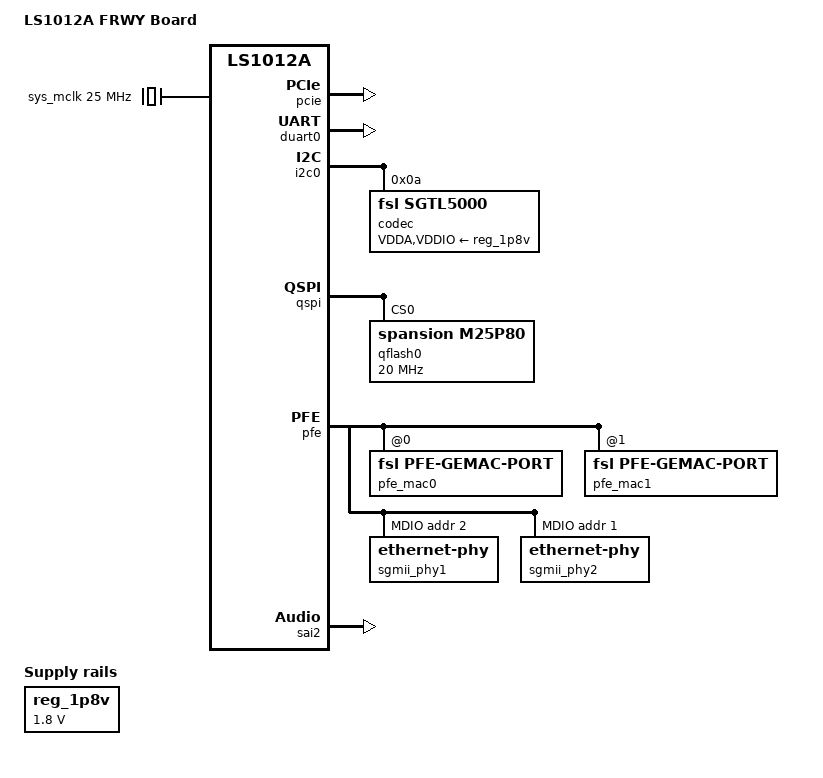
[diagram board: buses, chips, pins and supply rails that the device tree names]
/*
 * Device Tree file for NXP LS1012A FRWY Board.
 *
 * Copyright 2018 NXP
 *
 * This file is dual-licensed: you can use it either under the terms
 * of the GPLv2 or the X11 license, at your option. Note that this dual
 * licensing only applies to this file, and not this project as a
 * whole.
 *
 *  a) This library is free software; you can redistribute it and/or
 *     modify it under the terms of the GNU General Public License as
 *     published by the Free Software Foundation; either version 2 of the
 *     License, or (at your option) any later version.
 *
 *     This library is distributed in the hope that it will be useful,
 *     but WITHOUT ANY WARRANTY; without even the implied warranty of
 *     MERCHANTABILITY or FITNESS FOR A PARTICULAR PURPOSE.  See the
 *     GNU General Public License for more details.
 *
 * Or, alternatively,
 *
 *  b) Permission is hereby granted, free of charge, to any person
 *     obtaining a copy of this software and associated documentation
 *     files (the "Software"), to deal in the Software without
 *     restriction, including without limitation the rights to use,
 *     copy, modify, merge, publish, distribute, sublicense, and/or
 *     sell copies of the Software, and to permit persons to whom the
 *     Software is furnished to do so, subject to the following
 *     conditions:
 *
 *     The above copyright notice and this permission notice shall be
 *     included in all copies or substantial portions of the Software.
 *
 *     THE SOFTWARE IS PROVIDED "AS IS", WITHOUT WARRANTY OF ANY KIND,
 *     EXPRESS OR IMPLIED, INCLUDING BUT NOT LIMITED TO THE WARRANTIES
 *     OF MERCHANTABILITY, FITNESS FOR A PARTICULAR PURPOSE AND
 *     NONINFRINGEMENT. IN NO EVENT SHALL THE AUTHORS OR COPYRIGHT
 *     HOLDERS BE LIABLE FOR ANY CLAIM, DAMAGES OR OTHER LIABILITY,
 *     WHETHER IN AN ACTION OF CONTRACT, TORT OR OTHERWISE, ARISING
 *     FROM, OUT OF OR IN CONNECTION WITH THE SOFTWARE OR THE USE OR
 *     OTHER DEALINGS IN THE SOFTWARE.
 */
/dts-v1/;

#include "fsl-ls1012a.dtsi"

/ {
	model = "LS1012A FRWY Board";
	compatible = "fsl,ls1012a-frwy", "fsl,ls1012a";

	aliases {
		ethernet0 = &pfe_mac0;
		ethernet1 = &pfe_mac1;
	};

	sys_mclk: clock-mclk {
		compatible = "fixed-clock";
		#clock-cells = <0>;
		clock-frequency = <25000000>;
	};

	reg_1p8v: regulator-1p8v {
		compatible = "regulator-fixed";
		regulator-name = "1P8V";
		regulator-min-microvolt = <1800000>;
		regulator-max-microvolt = <1800000>;
		regulator-always-on;
	};

	sound {
		compatible = "simple-audio-card";
		simple-audio-card,format = "i2s";
		simple-audio-card,widgets =
			"Microphone", "Microphone Jack",
			"Headphone", "Headphone Jack",
			"Speaker", "Speaker Ext",
			"Line", "Line In Jack";
		simple-audio-card,routing =
			"MIC_IN", "Microphone Jack",
			"Microphone Jack", "Mic Bias",
			"LINE_IN", "Line In Jack",
			"Headphone Jack", "HP_OUT",
			"Speaker Ext", "LINE_OUT";

		simple-audio-card,cpu {
			sound-dai = <&sai2>;
			frame-master;
			bitclock-master;
		};

		simple-audio-card,codec {
			sound-dai = <&codec>;
			frame-master;
			bitclock-master;
			system-clock-frequency = <25000000>;
		};
	};
};

&pcie {
	status = "okay";
};

&duart0 {
	status = "okay";
};

&i2c0 {
	status = "okay";

	codec: sgtl5000@a {
		compatible = "fsl,sgtl5000";
		#sound-dai-cells = <0>;
		reg = <0xa>;
		VDDA-supply = <&reg_1p8v>;
		VDDIO-supply = <&reg_1p8v>;
		clocks = <&sys_mclk>;
	};
};

&qspi {
	num-cs = <1>;
	bus-num = <0>;
	status = "okay";

	qflash0: w25q16dw@0 {
		compatible = "spansion,m25p80";
		#address-cells = <1>;
		#size-cells = <1>;
		m25p,fast-read;
		spi-max-frequency = <20000000>;
		reg = <0>;
	};
};

&pfe {
	status = "okay";
	#address-cells = <1>;
	#size-cells = <0>;

	pfe_mac0: ethernet@0 {
		compatible = "fsl,pfe-gemac-port";
		#address-cells = <1>;
		#size-cells = <0>;
		reg = <0x0>;	/* GEM_ID */
		fsl,gemac-bus-id = <0x0>;	/* BUS_ID */
		fsl,mdio-mux-val = <0x0>;
		phy-mode = "sgmii";
		phy-handle = <&sgmii_phy1>;
	};

	pfe_mac1: ethernet@1 {
		compatible = "fsl,pfe-gemac-port";
		#address-cells = <1>;
		#size-cells = <0>;
		reg = <0x1>;	/* GEM_ID */
		fsl,mdio-mux-val = <0x0>;
		phy-mode = "sgmii";
		phy-handle = <&sgmii_phy2>;
	};

	mdio@0 {
		#address-cells = <1>;
		#size-cells = <0>;

		sgmii_phy1: ethernet-phy@2 {
			reg = <0x2>;
		};

		sgmii_phy2: ethernet-phy@1 {
			reg = <0x1>;
		};
	};
};

&sai2 {
	status = "okay";
};
